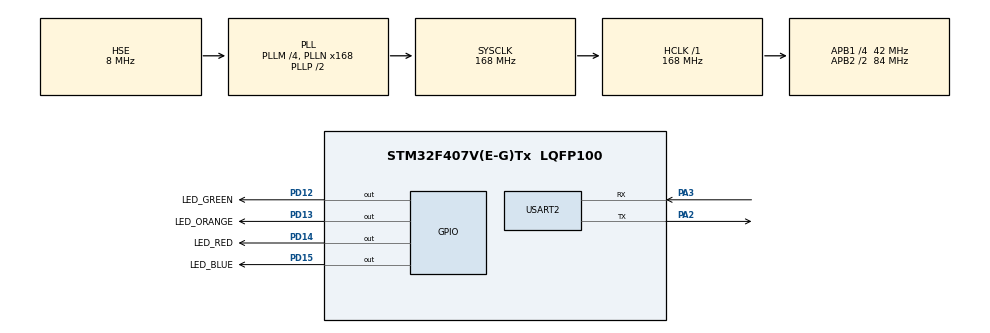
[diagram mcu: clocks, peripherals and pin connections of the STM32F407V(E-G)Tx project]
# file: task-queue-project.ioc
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Mcu.Family=STM32F4
Mcu.Name=STM32F407V(E-G)Tx
Mcu.Package=LQFP100
NVIC.PriorityGroup=NVIC_PRIORITYGROUP_4
NVIC.TIM6_DAC_IRQn=true\:0\:0\:false\:false\:true\:false\:true\:true
NVIC.TimeBase=TIM6_DAC_IRQn
NVIC.TimeBaseIP=TIM6
NVIC.USART2_IRQn=true\:6\:0\:true\:false\:true\:true\:true\:true
PA2.Mode=Asynchronous
PA2.Signal=USART2_TX
PA3.Mode=Asynchronous
PA3.Signal=USART2_RX
PD12.GPIO_Label=LED_GREEN
PD12.Signal=GPIO_Output
PD13.GPIO_Label=LED_ORANGE
PD13.Signal=GPIO_Output
PD14.GPIO_Label=LED_RED
PD14.Signal=GPIO_Output
PD15.GPIO_Label=LED_BLUE
PD15.Signal=GPIO_Output
PH0-OSC_IN.Mode=HSE-External-Oscillator
PH0-OSC_IN.Signal=RCC_OSC_IN
PH1-OSC_OUT.Mode=HSE-External-Oscillator
PH1-OSC_OUT.Signal=RCC_OSC_OUT
ProjectManager.HeapSize=0x200
ProjectManager.StackSize=0x400
ProjectManager.TargetToolchain=CMake
RCC.48MHZClocksFreq_Value=48000000
RCC.AHBFreq_Value=168000000
RCC.APB1CLKDivider=RCC_HCLK_DIV4
RCC.APB1Freq_Value=42000000
RCC.APB1TimFreq_Value=84000000
RCC.APB2CLKDivider=RCC_HCLK_DIV2
RCC.APB2Freq_Value=84000000
RCC.APB2TimFreq_Value=168000000
RCC.CortexFreq_Value=168000000
RCC.HCLKFreq_Value=168000000
RCC.HSE_VALUE=8000000
RCC.HSI_VALUE=16000000
RCC.LSE_VALUE=32768
RCC.PLLM=4
RCC.PLLN=168
RCC.PLLQ=7
RCC.PLLSourceVirtual=RCC_PLLSOURCE_HSE
RCC.SYSCLKFreq_VALUE=168000000
RCC.SYSCLKSource=RCC_SYSCLKSOURCE_PLLCLK
RCC.VCOOutputFreq_Value=336000000
RTC.HourFormat=RTC_HOURFORMAT_12
USART2.VirtualMode=VM_ASYNC
VP_RTC_VS_RTC_Activate.Mode=RTC_Enabled
VP_RTC_VS_RTC_Calendar.Mode=RTC_Calendar
VP_SYS_VS_tim6.Mode=TIM6
board=STM32F407G-DISC1

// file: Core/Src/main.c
/* USER CODE BEGIN Header */
/**
  ******************************************************************************
  * @file           : main.c
  * @brief          : Main program body
  ******************************************************************************
  * @attention
  *
  * Copyright (c) 2025 STMicroelectronics.
  * All rights reserved.
  *
  * This software is licensed under terms that can be found in the LICENSE file
  * in the root directory of this software component.
  * If no LICENSE file comes with this software, it is provided AS-IS.
  *
  ******************************************************************************
  */
/* USER CODE END Header */
#include "main.h"
#include "projdefs.h"
#include "stm32f4xx_hal_def.h"
#include "stm32f4xx_hal_uart.h"

RTC_HandleTypeDef hrtc;

UART_HandleTypeDef huart2;

/* USER CODE BEGIN PV */
TaskHandle_t handle_task_menu;
TaskHandle_t handle_task_print;
TaskHandle_t handle_task_rtc;
TaskHandle_t handle_task_led;
TaskHandle_t handle_task_cmd;

SemaphoreHandle_t uart_mutex;

QueueHandle_t q_data;
QueueHandle_t q_print;

// software timer handles
TimerHandle_t timer_led[10];
TimerHandle_t timer_rtc;

volatile uint8_t user_data;

/* USER CODE END PV */

void SystemClock_Config(void);
static void MX_GPIO_Init(void);
static void MX_USART2_UART_Init(void);
static void MX_RTC_Init(void);
/* USER CODE BEGIN PFP */

void led_effect_callback(TimerHandle_t xTimer);
void HAL_UART_RxCpltCallback(UART_HandleTypeDef *huart);
void rtc_timer_callback(TimerHandle_t xTimer);
/* USER CODE END PFP */

/* USER CODE BEGIN 0 */
ScreenState_t curr_screen_state = sMainMenu;
/* USER CODE END 0 */

int main(void)
{

  /* USER CODE BEGIN 1 */
  BaseType_t xReturned;
  /* USER CODE END 1 */

  /* MCU Configuration--------------------------------------------------------*/

  /* Reset of all peripherals, Initializes the Flash interface and the Systick. */
  HAL_Init();

  /* Configure the system clock */
  SystemClock_Config();

  /* Initialize all configured peripherals */
  MX_GPIO_Init();
  MX_USART2_UART_Init();
  MX_RTC_Init();
  /* USER CODE BEGIN 2 */

  uart_mutex = xSemaphoreCreateMutex();
  configASSERT(uart_mutex != NULL);

  xReturned = xTaskCreate(menu_task, "MENU",512, NULL, PRIO_TASK_MENU, &handle_task_menu);
  configASSERT(xReturned == pdPASS);

  xReturned = xTaskCreate(print_task, "PRINT",512, NULL, PRIO_TASK_MENU, &handle_task_print);
  configASSERT(xReturned == pdPASS);

  xReturned = xTaskCreate(cmd_task, "CMD",512, NULL, PRIO_TASK_MENU, &handle_task_cmd);
  configASSERT(xReturned == pdPASS);

  xReturned = xTaskCreate(led_task, "LED",512, NULL, PRIO_TASK_MENU, &handle_task_led);
  configASSERT(xReturned == pdPASS);

  xReturned = xTaskCreate(rtc_task, "RTC",512, NULL, PRIO_TASK_MENU, &handle_task_rtc);
  configASSERT(xReturned == pdPASS);

  q_data = xQueueCreate(100, sizeof(char));
  configASSERT(q_data != NULL);

  q_print = xQueueCreate(100, sizeof(char *));
  configASSERT(q_print != NULL);

  // create software timers for led effects
  for (int i = 0; i < 10; i++){
    timer_led[i] = xTimerCreate("LED timer", pdMS_TO_TICKS(500), pdTRUE, (void*) (i+1), led_effect_callback);
  }

  // create software timer for rtc reporting
  timer_rtc = xTimerCreate("RTC timer", pdMS_TO_TICKS(1000), pdTRUE, NULL, rtc_timer_callback);

  if(HAL_UART_Receive_IT(&huart2, (uint8_t*) &user_data, 1) != HAL_OK){
    Error_Handler();
  }

  // start the schedular
  vTaskStartScheduler();

  /* USER CODE END 2 */

  /* Infinite loop */
  while (1)
  {

  }
}

void SystemClock_Config(void)
{
  RCC_OscInitTypeDef RCC_OscInitStruct = {0};
  RCC_ClkInitTypeDef RCC_ClkInitStruct = {0};

  /** Configure the main internal regulator output voltage
  */
  __HAL_RCC_PWR_CLK_ENABLE();
  __HAL_PWR_VOLTAGESCALING_CONFIG(PWR_REGULATOR_VOLTAGE_SCALE1);

  /** Initializes the RCC Oscillators according to the specified parameters
  * in the RCC_OscInitTypeDef structure.
  */
  RCC_OscInitStruct.OscillatorType = RCC_OSCILLATORTYPE_LSI|RCC_OSCILLATORTYPE_HSE;
  RCC_OscInitStruct.HSEState = RCC_HSE_ON;
  RCC_OscInitStruct.LSIState = RCC_LSI_ON;
  RCC_OscInitStruct.PLL.PLLState = RCC_PLL_ON;
  RCC_OscInitStruct.PLL.PLLSource = RCC_PLLSOURCE_HSE;
  RCC_OscInitStruct.PLL.PLLM = 4;
  RCC_OscInitStruct.PLL.PLLN = 168;
  RCC_OscInitStruct.PLL.PLLP = RCC_PLLP_DIV2;
  RCC_OscInitStruct.PLL.PLLQ = 7;
  if (HAL_RCC_OscConfig(&RCC_OscInitStruct) != HAL_OK)
  {
    Error_Handler();
  }

  /** Initializes the CPU, AHB and APB buses clocks
  */
  RCC_ClkInitStruct.ClockType = RCC_CLOCKTYPE_HCLK|RCC_CLOCKTYPE_SYSCLK
                              |RCC_CLOCKTYPE_PCLK1|RCC_CLOCKTYPE_PCLK2;
  RCC_ClkInitStruct.SYSCLKSource = RCC_SYSCLKSOURCE_PLLCLK;
  RCC_ClkInitStruct.AHBCLKDivider = RCC_SYSCLK_DIV1;
  RCC_ClkInitStruct.APB1CLKDivider = RCC_HCLK_DIV4;
  RCC_ClkInitStruct.APB2CLKDivider = RCC_HCLK_DIV2;

  if (HAL_RCC_ClockConfig(&RCC_ClkInitStruct, FLASH_LATENCY_5) != HAL_OK)
  {
    Error_Handler();
  }
}

static void MX_RTC_Init(void)
{

  RTC_TimeTypeDef sTime = {0};
  RTC_DateTypeDef sDate = {0};

  /** Initialize RTC Only
  */
  hrtc.Instance = RTC;
  hrtc.Init.HourFormat = RTC_HOURFORMAT_12;
  hrtc.Init.AsynchPrediv = 127;
  hrtc.Init.SynchPrediv = 255;
  hrtc.Init.OutPut = RTC_OUTPUT_DISABLE;
  hrtc.Init.OutPutPolarity = RTC_OUTPUT_POLARITY_HIGH;
  hrtc.Init.OutPutType = RTC_OUTPUT_TYPE_OPENDRAIN;
  if (HAL_RTC_Init(&hrtc) != HAL_OK)
  {
    Error_Handler();
  }

  /** Initialize RTC and set the Time and Date
  */
  sTime.Hours = 0x1;
  sTime.Minutes = 0x0;
  sTime.Seconds = 0x0;
  sTime.TimeFormat = RTC_HOURFORMAT12_AM;
  sTime.DayLightSaving = RTC_DAYLIGHTSAVING_NONE;
  sTime.StoreOperation = RTC_STOREOPERATION_RESET;
  if (HAL_RTC_SetTime(&hrtc, &sTime, RTC_FORMAT_BCD) != HAL_OK)
  {
    Error_Handler();
  }
  sDate.WeekDay = RTC_WEEKDAY_MONDAY;
  sDate.Month = RTC_MONTH_JANUARY;
  sDate.Date = 0x1;
  sDate.Year = 0x0;

  if (HAL_RTC_SetDate(&hrtc, &sDate, RTC_FORMAT_BCD) != HAL_OK)
  {
    Error_Handler();
  }

}

static void MX_USART2_UART_Init(void)
{

  huart2.Instance = USART2;
  huart2.Init.BaudRate = 115200;
  huart2.Init.WordLength = UART_WORDLENGTH_8B;
  huart2.Init.StopBits = UART_STOPBITS_1;
  huart2.Init.Parity = UART_PARITY_NONE;
  huart2.Init.Mode = UART_MODE_TX_RX;
  huart2.Init.HwFlowCtl = UART_HWCONTROL_NONE;
  huart2.Init.OverSampling = UART_OVERSAMPLING_16;
  if (HAL_UART_Init(&huart2) != HAL_OK)
  {
    Error_Handler();
  }

}

static void MX_GPIO_Init(void)
{
  GPIO_InitTypeDef GPIO_InitStruct = {0};

  /* GPIO Ports Clock Enable */
  __HAL_RCC_GPIOH_CLK_ENABLE();
  __HAL_RCC_GPIOA_CLK_ENABLE();
  __HAL_RCC_GPIOD_CLK_ENABLE();

  /*Configure GPIO pin Output Level */
  HAL_GPIO_WritePin(GPIOD, LED_GREEN_Pin|LED_ORANGE_Pin|LED_RED_Pin|LED_BLUE_Pin, GPIO_PIN_RESET);

  /*Configure GPIO pins : LED_GREEN_Pin LED_ORANGE_Pin LED_RED_Pin LED_BLUE_Pin */
  GPIO_InitStruct.Pin = LED_GREEN_Pin|LED_ORANGE_Pin|LED_RED_Pin|LED_BLUE_Pin;
  GPIO_InitStruct.Mode = GPIO_MODE_OUTPUT_PP;
  GPIO_InitStruct.Pull = GPIO_NOPULL;
  GPIO_InitStruct.Speed = GPIO_SPEED_FREQ_LOW;
  HAL_GPIO_Init(GPIOD, &GPIO_InitStruct);

}

/* USER CODE BEGIN 4 */
void led_effect_callback(TimerHandle_t xTimer){
  int id;
  id = (uint32_t) pvTimerGetTimerID(xTimer);

  switch (id)
  {
  case 1:
    all_blink();
    break;

  case 2:
    ping_pong_sweep();
    break;

  case 3:
    shift_left();
    break;

  case 4:
    shift_right();
    break;

  case 5:
    edge_to_center();
    break;

  case 6:
    binary_counter();
    break;

  case 7:
    random_sparkle();
    break;

  case 8:
    wave_expand();
    break;

  case 9:
    alternate_flash();
    break;

  case 10:
    growing_bar();
    break;

  default:
    break;
  }
}

void rtc_timer_callback(TimerHandle_t xTimer){
  UNUSED(xTimer);
	show_time_date_ITM();
}

void HAL_UART_RxCpltCallback(UART_HandleTypeDef *huart){

  if(huart->Instance == USART2){
    uint8_t dummy;
    if(!xQueueIsQueueFullFromISR(q_data)){
      // queue is empty lets enqueue the data
      xQueueSendFromISR(q_data, (void *)&user_data, NULL);
    }
    else{
      // queue is full
      // check if user_data = '\n' ?
      if(user_data == '\n'){
        // make sure that the last data byte of the queue is '\n'
        xQueueReceiveFromISR(q_data, (void*)&dummy, NULL);
        xQueueSendFromISR(q_data, (void*)&user_data, NULL);
      }
    }

    // send notification to command handling task if user_data = '\n'
    if(user_data == '\n'){
      xTaskNotifyFromISR(handle_task_cmd, 0, eNoAction, NULL);
    }

    // enable usart data tansmission again in IT mode
    HAL_UART_Receive_IT(&huart2, (uint8_t*)&user_data, 1);
  }
}

/* USER CODE END 4 */

void HAL_TIM_PeriodElapsedCallback(TIM_HandleTypeDef *htim)
{
  if (htim->Instance == TIM6)
  {
    HAL_IncTick();
  }
}

void Error_Handler(void)
{
  __disable_irq();
  while (1)
  {
  }
}
